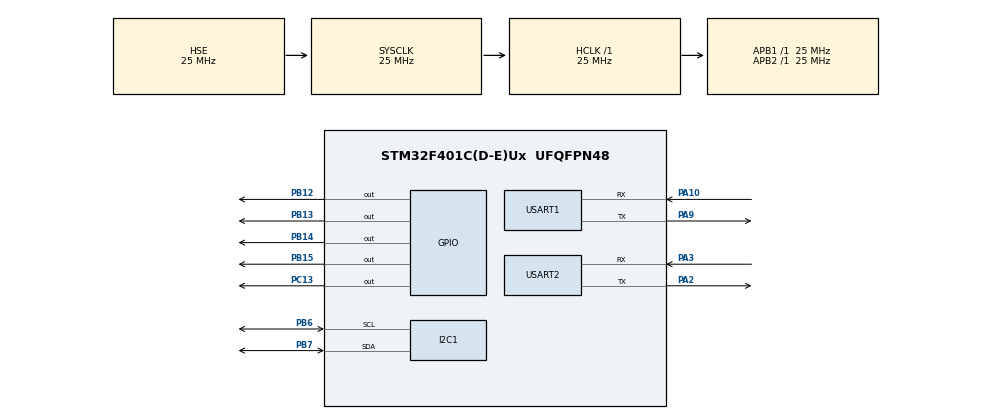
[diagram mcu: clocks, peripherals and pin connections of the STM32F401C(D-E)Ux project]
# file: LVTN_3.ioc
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Dma.Request0=USART1_RX
Dma.USART1_RX.0.Direction=DMA_PERIPH_TO_MEMORY
Dma.USART1_RX.0.FIFOMode=DMA_FIFOMODE_DISABLE
Dma.USART1_RX.0.Instance=DMA2_Stream2
Dma.USART1_RX.0.MemDataAlignment=DMA_MDATAALIGN_BYTE
Dma.USART1_RX.0.MemInc=DMA_MINC_ENABLE
Dma.USART1_RX.0.Mode=DMA_NORMAL
Dma.USART1_RX.0.PeriphDataAlignment=DMA_PDATAALIGN_BYTE
Dma.USART1_RX.0.PeriphInc=DMA_PINC_DISABLE
Dma.USART1_RX.0.Priority=DMA_PRIORITY_LOW
Mcu.Family=STM32F4
Mcu.Name=STM32F401C(D-E)Ux
Mcu.Package=UFQFPN48
NVIC.DMA2_Stream2_IRQn=true\:0\:0\:false\:false\:true\:false\:true\:true
NVIC.PriorityGroup=NVIC_PRIORITYGROUP_4
NVIC.USART1_IRQn=true\:0\:0\:false\:false\:true\:true\:true\:true
PA10.Mode=Asynchronous
PA10.Signal=USART1_RX
PA13.Mode=Serial_Wire
PA13.Signal=SYS_JTMS-SWDIO
PA14.Mode=Serial_Wire
PA14.Signal=SYS_JTCK-SWCLK
PA2.Mode=Asynchronous
PA2.Signal=USART2_TX
PA3.Mode=Asynchronous
PA3.Signal=USART2_RX
PA9.Mode=Asynchronous
PA9.Signal=USART1_TX
PB12.Signal=GPIO_Output
PB13.Signal=GPIO_Output
PB14.Signal=GPIO_Output
PB15.Signal=GPIO_Output
PB6.Mode=I2C
PB6.Signal=I2C1_SCL
PB7.Mode=I2C
PB7.Signal=I2C1_SDA
PC13-ANTI_TAMP.Signal=GPIO_Output
PH0\ -\ OSC_IN.Mode=HSE-External-Oscillator
PH0\ -\ OSC_IN.Signal=RCC_OSC_IN
PH1\ -\ OSC_OUT.Mode=HSE-External-Oscillator
PH1\ -\ OSC_OUT.Signal=RCC_OSC_OUT
ProjectManager.HeapSize=0x200
ProjectManager.StackSize=0x400
ProjectManager.TargetToolchain=STM32CubeIDE
RCC.48MHZClocksFreq_Value=75000000
RCC.AHBFreq_Value=25000000
RCC.APB1Freq_Value=25000000
RCC.APB1TimFreq_Value=25000000
RCC.APB2Freq_Value=25000000
RCC.APB2TimFreq_Value=25000000
RCC.CortexFreq_Value=25000000
RCC.HCLKFreq_Value=25000000
RCC.HSE_VALUE=25000000
RCC.HSI_VALUE=16000000
RCC.LSE_VALUE=32768
RCC.PLLSourceVirtual=RCC_PLLSOURCE_HSE
RCC.SYSCLKFreq_VALUE=25000000
RCC.SYSCLKSource=RCC_SYSCLKSOURCE_HSE
RCC.VCOOutputFreq_Value=300000000
TIM3.AutoReloadPreload=TIM_AUTORELOAD_PRELOAD_ENABLE
TIM3.Period=65535
TIM3.Prescaler=24
USART1.VirtualMode=VM_ASYNC
USART2.VirtualMode=VM_ASYNC
VP_TIM1_VS_ClockSourceINT.Mode=Internal
VP_TIM3_VS_ClockSourceINT.Mode=Internal
board=custom

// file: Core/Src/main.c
/* USER CODE BEGIN Header */
/**
  ******************************************************************************
  * @file           : main.c
  * @brief          : Main program body
  ******************************************************************************
  * @attention
  *
  * Copyright (c) 2026 STMicroelectronics.
  * All rights reserved.
  *
  * This software is licensed under terms that can be found in the LICENSE file
  * in the root directory of this software component.
  * If no LICENSE file comes with this software, it is provided AS-IS.
  *
  ******************************************************************************
  */
/* USER CODE END Header */
#include "main.h"
#include "dma.h"
#include "i2c.h"
#include "tim.h"
#include "usart.h"
#include "gpio.h"

/* USER CODE BEGIN Includes */
#include "string.h"
#include "stdio.h"
#include "sensor.h"
#include "ESP8266.h"
#include "sensirion_common.h"
#include "sensirion_i2c_hal.h"
#include "sht4x_i2c.h"
#include "bh1750.h"
#include "CCS811.h"
/* USER CODE END Includes */

void SystemClock_Config(void);

/* USER CODE BEGIN 0 */
uint32_t adc_acs712;
uint32_t adc_photo;
char msg[512];
float light;
float v_mq;
float current;
uint16_t adc_dma[3] = {0};
char buffer[256];
STATE state_dev;
uint8_t flag;
uint8_t flag1;
uint8_t flag2;

int16_t error = NO_ERROR;

int32_t temperature_milli_degC = 0;
int32_t humidity_milli_RH = 0;

float temperature = 0;
float humidity = 0;

float BH1750_lux;

CCS811_Data_t ccs811_data;
HAL_StatusTypeDef ccs811_status;
uint16_t tvoc;
uint16_t eco2;
void uart_print(uint8_t* message)
{
	HAL_UART_Transmit(&huart2, message,strlen(message), 100);
}
float ACS_Irms(void) {
  float sum = 0; const int N = 200;
  for (int i = 0; i < N; i++) {
    float v = adc_dma[2] * 3.3f / 4095 * K_DIV;  // điện áp thật tại OUT
    float a = (v - V_ZERO) / 0.185f;          // 185 mV/A (bản 5A), V_ZERO đo khi không tải
    sum += a * a; delay_us(500);
  }
  return sqrtf(sum / N);
}
/* USER CODE END 0 */

int main(void)
{

  /* MCU Configuration--------------------------------------------------------*/

  /* Reset of all peripherals, Initializes the Flash interface and the Systick. */
  HAL_Init();

  /* Configure the system clock */
  SystemClock_Config();

  /* Initialize all configured peripherals */
  MX_GPIO_Init();
  MX_DMA_Init();
  MX_USART1_UART_Init();
  MX_TIM1_Init();
  MX_USART2_UART_Init();
  MX_TIM3_Init();
  MX_I2C1_Init();
  /* USER CODE BEGIN 2 */

sht4x_init(SHT45_I2C_ADDR_44);
sht4x_soft_reset();
sensirion_i2c_hal_sleep_usec(10000);

BH1750_Init(&hi2c1);
BH1750_SetMode(CONTINUOUS_HIGH_RES_MODE_2);

ccs811_status = CCS811_Init(&hi2c1);
//HAL_TIM_Base_Start(&htim3);
//uint16_t adc_dma[3] = {0};
//HAL_ADC_Start_DMA(&hadc1, (uint32_t*)adc_dma, 3);
//
//ESP8266_init();
//ESP8266connect_Wifi(buffer, sizeof(buffer), "Connected", "12345678");
//MQTT_Sub("demo_f401_7392/home/cmd");
//uint32_t demgiay = HAL_GetTick();
  /* USER CODE END 2 */

  /* Infinite loop */
  /* USER CODE BEGIN WHILE */
  while (1)
  {
	    HAL_Delay(2000);

	    error = sht4x_measure_high_precision(&temperature_milli_degC, &humidity_milli_RH);

	    if (error == NO_ERROR)
	    {
	        temperature = temperature_milli_degC / 1000.0f;

	        humidity = humidity_milli_RH / 1000.0f;

	        // Xu ly du lieu tai day
	    }
	    else
	    {
	    	_log("hello from stm32\r\n");
	        // Loi giao tiep I2C
	    }
	    BH1750_ReadLight(&BH1750_lux);

        snprintf(msg, sizeof(msg), "Temp: %0.2f\r\nhumi: %0.2f\r\nlight: %0.2f\r\neCO2: %d\r\ntVOC: %d\r\n",temperature,humidity,BH1750_lux,eco2,tvoc);
        _log(msg);
//if((uint32_t)(HAL_GetTick()- demgiay) > 10000)
//{
//	v_mq =  adc_dma[0] * 3.3f / 4095 * K_DIV;
//	light = 100.0f - adc_dma[1]*3.3/4095* K_DIV*100.0f/5;
//	current = ACS_Irms();
//	demgiay = HAL_GetTick();
//	MQTT_Pub("demo_f401_7392/home/sensor",msg);
//
//}
//	state_dev = Subcribe_event_get_data(&flag,&flag1,&flag2);
//	if(state_dev == LED0_ON && flag)
//	{
//		HAL_GPIO_WritePin(GPIOB,GPIO_PIN_12 , 1);
//		flag = 0;
//
//	}
//	else if(state_dev == LED0_OFF && flag)
//	{
//		HAL_GPIO_WritePin(GPIOB, GPIO_PIN_12, 0);
//		flag = 0;
//	}
//	if(state_dev == LED1_ON && flag1)
//	{
//		HAL_GPIO_WritePin(GPIOB,GPIO_PIN_13 , 1);
//		flag1 = 0;
//	}
//	else if(state_dev == LED1_OFF && flag1)
//	{
//		HAL_GPIO_WritePin(GPIOB, GPIO_PIN_13, 0);
//		flag1 = 0;
//	}
//	if(state_dev == FAN_ON && flag2)
//	{
//		HAL_GPIO_WritePin(GPIOB,GPIO_PIN_14 , 1);
//		flag2 = 0;
//	}
//	else if(state_dev == FAN_OFF && flag2)
//	{
//		HAL_GPIO_WritePin(GPIOB, GPIO_PIN_14, 0);
//		flag2 = 0;
//	}
    /* USER CODE END WHILE */

  }
}

void SystemClock_Config(void)
{
  RCC_OscInitTypeDef RCC_OscInitStruct = {0};
  RCC_ClkInitTypeDef RCC_ClkInitStruct = {0};

  /** Configure the main internal regulator output voltage
  */
  __HAL_RCC_PWR_CLK_ENABLE();
  __HAL_PWR_VOLTAGESCALING_CONFIG(PWR_REGULATOR_VOLTAGE_SCALE2);

  /** Initializes the RCC Oscillators according to the specified parameters
  * in the RCC_OscInitTypeDef structure.
  */
  RCC_OscInitStruct.OscillatorType = RCC_OSCILLATORTYPE_HSE;
  RCC_OscInitStruct.HSEState = RCC_HSE_ON;
  RCC_OscInitStruct.PLL.PLLState = RCC_PLL_NONE;
  if (HAL_RCC_OscConfig(&RCC_OscInitStruct) != HAL_OK)
  {
    Error_Handler();
  }

  /** Initializes the CPU, AHB and APB buses clocks
  */
  RCC_ClkInitStruct.ClockType = RCC_CLOCKTYPE_HCLK|RCC_CLOCKTYPE_SYSCLK
                              |RCC_CLOCKTYPE_PCLK1|RCC_CLOCKTYPE_PCLK2;
  RCC_ClkInitStruct.SYSCLKSource = RCC_SYSCLKSOURCE_HSE;
  RCC_ClkInitStruct.AHBCLKDivider = RCC_SYSCLK_DIV1;
  RCC_ClkInitStruct.APB1CLKDivider = RCC_HCLK_DIV1;
  RCC_ClkInitStruct.APB2CLKDivider = RCC_HCLK_DIV1;

  if (HAL_RCC_ClockConfig(&RCC_ClkInitStruct, FLASH_LATENCY_0) != HAL_OK)
  {
    Error_Handler();
  }
}

void Error_Handler(void)
{
  __disable_irq();
  while (1)
  {
  }
}
